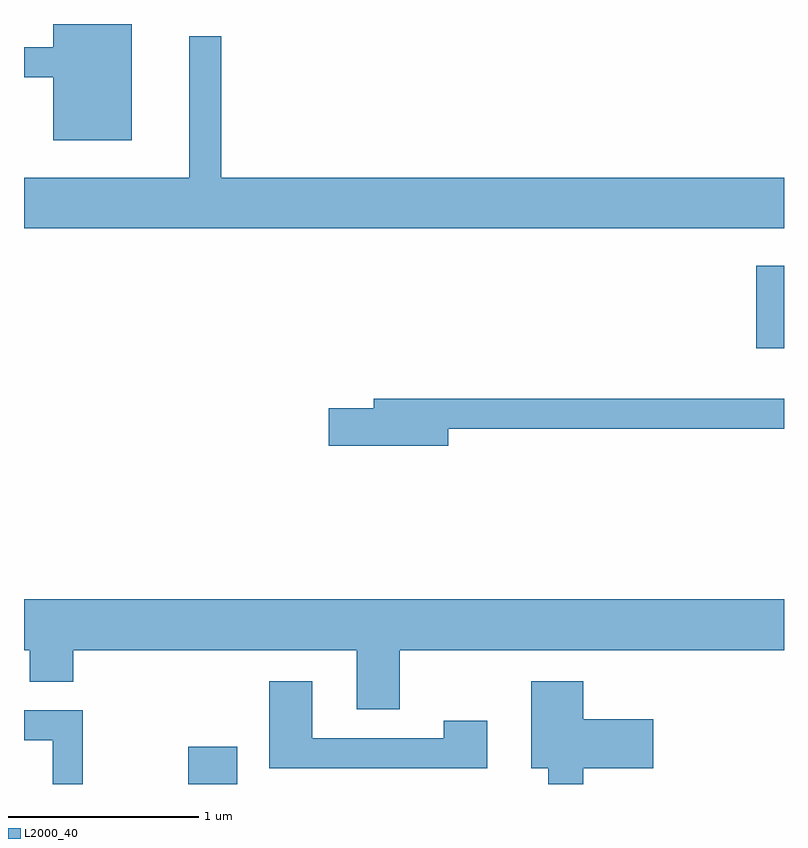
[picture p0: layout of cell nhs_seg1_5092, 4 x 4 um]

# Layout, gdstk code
import gdstk
lib = gdstk.Library(unit=1e-6, precision=1e-09)
def R(c, l, rs):  # rectangles x0, y0, x1, y1
    for r in rs: c.add(gdstk.rectangle(r[:2], r[2:], *l))
def P(c, l, *ps):  # polygons
    for p in ps: c.add(gdstk.Polygon(p, *l))
L2000_40 = (2000, 40)

nhs_seg1_5092 = lib.new_cell('nhs_seg1_5092')
R(nhs_seg1_5092, L2000_40, [(338.476,947.712,338.734,947.909), (341.466,950.006,341.611,950.439)])
P(nhs_seg1_5092, L2000_40, [(338.179,951.712),(337.766,951.712),(337.766,951.589),(337.611,951.589),(337.611,951.431),(337.766,951.431),(337.766,951.101),(338.179,951.101)],
  [(341.611,950.904),(338.649,950.904),(338.649,951.648),(338.481,951.648),(338.481,950.904),(337.611,950.904),(337.611,950.636),(341.611,950.636)],
  [(339.844,949.581),(341.611,949.581),(341.611,949.739),(339.451,949.739),(339.451,949.689),(339.216,949.689),(339.216,949.491),(339.844,949.491)],
  [(339.589,948.416),(341.611,948.416),(341.611,948.684),(337.611,948.684),(337.611,948.416),(337.641,948.416),(337.641,948.251),(337.869,948.251),(337.869,948.416),(339.361,948.416),(339.361,948.106),(339.589,948.106)],
  [(340.554,947.796),(340.924,947.796),(340.924,948.054),(340.554,948.054),(340.554,948.254),(340.281,948.254),(340.281,947.796),(340.371,947.796),(340.371,947.712),(340.554,947.712)],
  [(340.049,948.044),(339.821,948.044),(339.821,947.954),(339.129,947.954),(339.129,948.254),(338.901,948.254),(338.901,947.796),(340.049,947.796)],
  [(337.919,948.099),(337.611,948.099),(337.611,947.941),(337.761,947.941),(337.761,947.712),(337.919,947.712)])

lib.write_gds('nhs_seg1_5092.gds')
